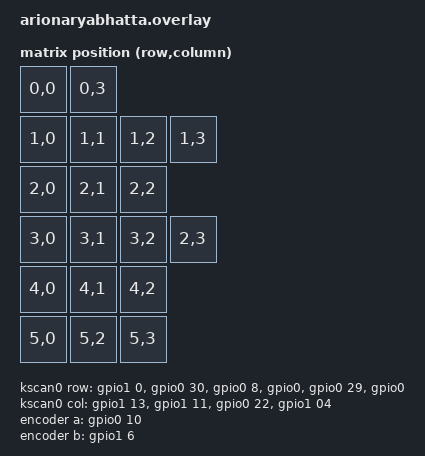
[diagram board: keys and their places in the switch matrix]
 #include <dt-bindings/zmk/matrix_transform.h>

 #include "arionaryabhatta-layouts.dtsi"

/ {
    chosen {
        zmk,kscan = &kscan0;
		zmk,physical_layout = &default_layout;
		zephyr,display = &oled;
    };

	default_transform: keymap_transform_0 {
		compatible = "zmk,matrix-transform";
		columns = <6>;
		rows = <4>;
		map = <
	        RC(0,0) RC(0,3)
            RC(1,0) RC(1,1) RC(1,2) RC(1,3) 
            RC(2,0) RC(2,1) RC(2,2) 
            RC(3,0) RC(3,1) RC(3,2) RC(2,3)
            RC(4,0) RC(4,1) RC(4,2)    
            RC(5,0) RC(5,2) RC(5,3)
		>;
	};

    kscan0: kscan_0 {
        compatible = "zmk,kscan-gpio-matrix";
        label = "KSCAN";
        diode-direction = "col2row";

         row-gpios = <&gpio1 0 (GPIO_ACTIVE_HIGH | GPIO_PULL_DOWN)>,
                    <&gpio0 30 (GPIO_ACTIVE_HIGH | GPIO_PULL_DOWN)>,
                    <&gpio0 8 (GPIO_ACTIVE_HIGH | GPIO_PULL_DOWN)>,
                    <&gpio0 2(GPIO_ACTIVE_HIGH | GPIO_PULL_DOWN)>,
                    <&gpio0 29 (GPIO_ACTIVE_HIGH | GPIO_PULL_DOWN)>,
                    <&gpio0 31(GPIO_ACTIVE_HIGH | GPIO_PULL_DOWN)>;

        col-gpios = <&gpio1 13 GPIO_ACTIVE_HIGH>,
                    <&gpio1 11 GPIO_ACTIVE_HIGH>,
                    <&gpio0 22 GPIO_ACTIVE_HIGH>,
                    <&gpio1 04 GPIO_ACTIVE_HIGH>;
    };
	
	encoder: encoder {
		compatible = "alps,ec11";
		label = "ENCODER";
		a-gpios = <&gpio0 10 (GPIO_ACTIVE_HIGH | GPIO_PULL_UP)>;
		b-gpios = <&gpio1 6 (GPIO_ACTIVE_HIGH | GPIO_PULL_UP)>;
		resolution = <4>;
		status = "okay";
	};

	sensors {
		compatible = "zmk,keymap-sensors";
		sensors = <&encoder>;
	};
	
};

&pro_micro_i2c {
	status = "okay";

	oled: ssd1306@3c {
		compatible = "solomon,ssd1306fb";
		reg = <0x3c>;
		label = "DISPLAY";
		width = <128>;
		height = <64>;
		segment-offset = <0>;
		page-offset = <0>;
		display-offset = <0>;
		multiplex-ratio = <63>;
		prechargep = <0x22>;
		segment-remap;
		com-invdir;
		inversion-on;
	};
};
